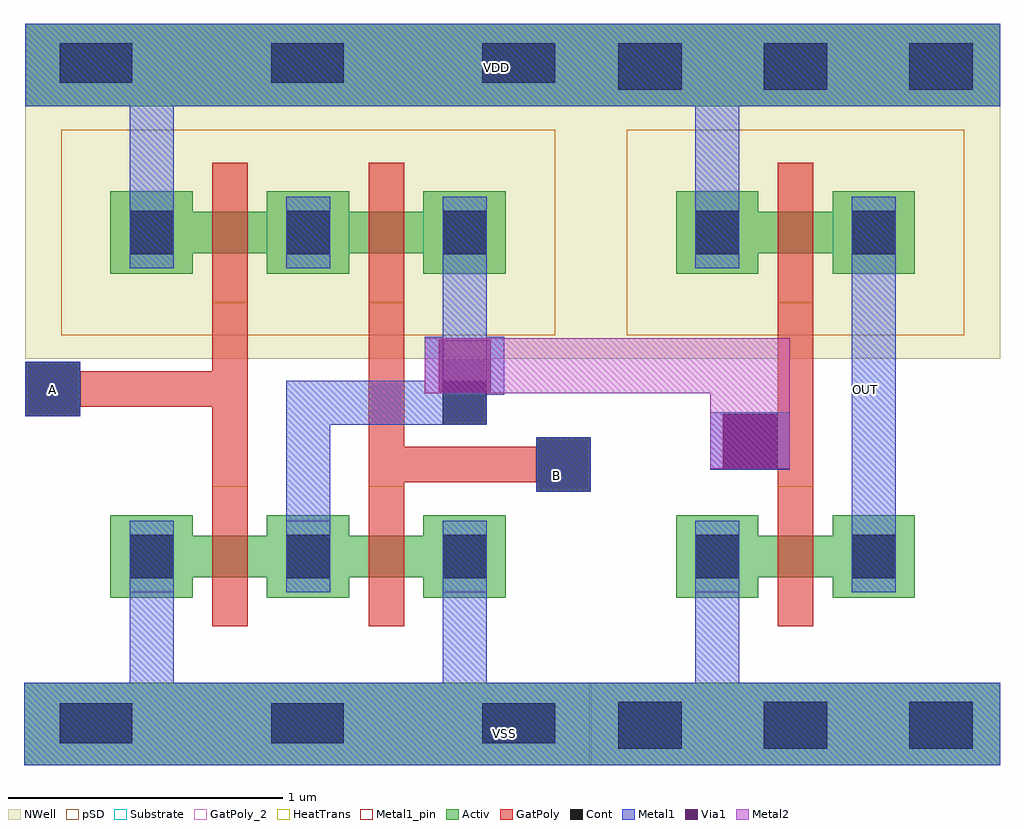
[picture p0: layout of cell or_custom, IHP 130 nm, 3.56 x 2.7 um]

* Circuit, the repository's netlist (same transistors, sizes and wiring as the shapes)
* Extracted by KLayout with SG13G2 LVS runset on : 16/01/2026 23:55

.SUBCKT or_custom VSS OUT A B VDD
X$1 VDD \$3 VSS OUT inv
X$3 \$3 A VDD VSS B nor_custom
.ENDS or_custom

.SUBCKT nor_custom OUT A VDD VSS B
M$1 VSS A OUT VSS sg13_lv_nmos L=0.13u W=0.15u AS=0.1005p AD=0.0555p PS=1.34u
+ PD=0.74u
M$2 OUT B VSS VSS sg13_lv_nmos L=0.13u W=0.15u AS=0.0555p AD=0.1005p PS=0.74u
+ PD=1.34u
M$3 VDD A \$10 VDD sg13_lv_pmos L=0.13u W=0.15u AS=0.1005p AD=0.0555p PS=1.34u
+ PD=0.74u
M$4 \$10 B OUT VDD sg13_lv_pmos L=0.13u W=0.15u AS=0.0555p AD=0.1005p PS=0.74u
+ PD=1.34u
.ENDS nor_custom

.SUBCKT inv VDD VIN VSS VOUT
M$1 VSS VIN VOUT VSS sg13_lv_nmos L=0.13u W=0.15u AS=0.1005p AD=0.1005p
+ PS=1.34u PD=1.34u
M$2 VDD VIN VOUT VDD sg13_lv_pmos L=0.13u W=0.15u AS=0.1005p AD=0.1005p
+ PS=1.34u PD=1.34u
.ENDS inv

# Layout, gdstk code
from math import pi, radians
import gdstk
lib = gdstk.Library(unit=1e-6, precision=5e-09)
def R(c, l, rs):  # rectangles x0, y0, x1, y1
    for r in rs: c.add(gdstk.rectangle(r[:2], r[2:], *l))
def A(c, l, x, y, w, h, nx, ny, dx, dy):  # array of equal rectangles
    R(c, l, [(x+i*dx, y+j*dy, x+i*dx+w, y+j*dy+h) for i in range(nx) for j in range(ny)])
Activ = (1, 0)
GatPoly = (5, 0)
GatPoly_2 = (5, 2)
Cont = (6, 0)
Metal1 = (8, 0)
Metal1_pin = (8, 2)
Metal2 = (10, 0)
pSD = (14, 0)
Via1 = (19, 0)
NWell = (31, 0)
Substrate = (40, 0)
HeatTrans = (51, 0)

pmos_1 = lib.new_cell('pmos$1')
R(pmos_1, Activ, [(0,0,0.3,0.3), (0.57,0,0.87,0.3), (0,0.075,0.87,0.225)])
R(pmos_1, GatPoly, [(0.37,-0.105,0.5,0.405), (0.37,-0.105,0.5,0.405)])
R(pmos_1, Cont, [(0.07,0.07,0.23,0.23), (0.64,0.07,0.8,0.23)])
R(pmos_1, Metal1, [(0.07,0.02,0.23,0.28), (0.07,0.02,0.23,0.28), (0.64,0.02,0.8,0.28), (0.64,0.02,0.8,0.28)])
R(pmos_1, pSD, [(-0.18,-0.225,1.05,0.525)])
R(pmos_1, NWell, [(-0.31,-0.31,1.18,0.61)])
R(pmos_1, Substrate, [(0.57,0,0.87,0.3)])
R(pmos_1, HeatTrans, [(0.37,-0.105,0.5,0.405)])
pmos_1.add(gdstk.Label('pmos', (0.435,0.15), layer=63, texttype=0))
pmos_1.add(gdstk.Label('pmos', (0.435,0.15), layer=51, texttype=0))

nmos_1 = lib.new_cell('nmos$1')
R(nmos_1, Activ, [(0,0,0.3,0.3), (0.57,0,0.87,0.3), (0,0.075,0.87,0.225)])
R(nmos_1, GatPoly, [(0.37,-0.105,0.5,0.405)])
R(nmos_1, GatPoly_2, [(0.37,-0.105,0.5,0.405)])
R(nmos_1, Cont, [(0.07,0.07,0.23,0.23), (0.64,0.07,0.8,0.23)])
R(nmos_1, Metal1, [(0.07,0.02,0.23,0.28), (0.64,0.02,0.8,0.28)])
R(nmos_1, Metal1_pin, [(0.07,0.02,0.23,0.28), (0.64,0.02,0.8,0.28)])
R(nmos_1, HeatTrans, [(0.37,-0.105,0.5,0.405)])
nmos_1.add(gdstk.Label('nmos', (0.435,0.15), layer=63, texttype=0))
nmos_1.add(gdstk.Label('nmos', (0.435,0.15), layer=51, texttype=0))

inv = lib.new_cell('inv')
R(inv, Activ, [(0.24,0.255,1.73,0.555), (0.24,2.655,1.73,2.955)])
R(inv, GatPoly, [(0.92,0.76,1.05,2.45), (0.72,1.335,0.92,1.535)])
A(inv, Cont, 0.34, 0.315, 0.23, 0.17, 3, 2, 0.53, 2.4)
R(inv, Cont, [(0.72,1.335,0.92,1.535)])
R(inv, Metal1, [(0.24,0.255,1.73,0.555), (0.62,0.255,0.78,1.145), (1.19,0.885,1.35,2.325), (0.72,1.335,0.92,1.535), (0.62,2.065,0.78,2.955), (0.24,2.655,1.73,2.955)])
R(inv, Metal1_pin, [(0.24,0.255,1.73,0.555), (1.19,0.885,1.35,2.325), (0.72,1.335,0.92,1.535), (0.24,2.655,1.73,2.955)])
R(inv, pSD, [(0.24,0.255,1.73,0.555)])
R(inv, NWell, [(0.24,2.655,1.73,2.955)])
inv.add(gdstk.Reference(pmos_1, (0.55,2.045)))
inv.add(gdstk.Reference(nmos_1, (0.55,0.865)))
inv.add(gdstk.Label('VIN', (0.78,1.435), layer=8, texttype=25))
inv.add(gdstk.Label('VSS', (0.95,0.37), layer=8, texttype=25))
inv.add(gdstk.Label('VOUT', (1.2,1.665), layer=8, texttype=25))
inv.add(gdstk.Label('VDD', (0.96,2.805), layer=8, texttype=25))

via_stack = lib.new_cell('via_stack')
R(via_stack, Metal1, [(-0.145,-0.105,0.145,0.105)])
R(via_stack, Metal2, [(-0.145,-0.1,0.145,0.1)])
R(via_stack, Via1, [(-0.095,-0.095,0.095,0.095)])

pmos = lib.new_cell('pmos')
R(pmos, Activ, [(0,0,0.3,0.3), (0.57,0,0.87,0.3), (0,0.075,0.87,0.225)])
R(pmos, GatPoly, [(0.37,-0.105,0.5,0.405), (0.37,-0.105,0.5,0.405)])
R(pmos, Cont, [(0.07,0.07,0.23,0.23), (0.64,0.07,0.8,0.23)])
R(pmos, Metal1, [(0.07,0.02,0.23,0.28), (0.07,0.02,0.23,0.28), (0.64,0.02,0.8,0.28), (0.64,0.02,0.8,0.28)])
R(pmos, pSD, [(-0.18,-0.225,1.05,0.525)])
R(pmos, NWell, [(-0.31,-0.31,1.18,0.61)])
R(pmos, Substrate, [(0.57,0,0.87,0.3)])
R(pmos, HeatTrans, [(0.37,-0.105,0.5,0.405)])
pmos.add(gdstk.Label('pmos', (0.435,0.15), layer=63, texttype=0))
pmos.add(gdstk.Label('pmos', (0.435,0.15), layer=51, texttype=0))

nmos = lib.new_cell('nmos')
R(nmos, Activ, [(0,0,0.3,0.3), (0.57,0,0.87,0.3), (0,0.075,0.87,0.225)])
R(nmos, GatPoly, [(0.37,-0.105,0.5,0.405)])
R(nmos, GatPoly_2, [(0.37,-0.105,0.5,0.405)])
R(nmos, Cont, [(0.07,0.07,0.23,0.23), (0.64,0.07,0.8,0.23)])
R(nmos, Metal1, [(0.07,0.02,0.23,0.28), (0.64,0.02,0.8,0.28)])
R(nmos, Metal1_pin, [(0.07,0.02,0.23,0.28), (0.64,0.02,0.8,0.28)])
R(nmos, HeatTrans, [(0.37,-0.105,0.5,0.405)])
nmos.add(gdstk.Label('nmos', (0.435,0.15), layer=63, texttype=0))
nmos.add(gdstk.Label('nmos', (0.435,0.15), layer=51, texttype=0))

nor_custom = lib.new_cell('nor_custom')
R(nor_custom, Activ, [(0.165,0.28,2.225,0.58), (0.17,2.68,2.23,2.98)])
R(nor_custom, GatPoly, [(0.85,0.785,0.98,2.475), (1.42,0.785,1.55,2.475), (1.42,1.31,2.03,1.44), (0.37,1.585,0.98,1.715)])
A(nor_custom, Cont, 0.295, 0.36, 0.265, 0.145, 3, 2, 0.77, 2.405)
R(nor_custom, Cont, [(2.03,1.275,2.23,1.475), (1.69,1.52,1.85,1.68), (0.17,1.55,0.37,1.75)])
R(nor_custom, Metal1, [(0.165,0.28,2.225,0.58), (0.55,0.28,0.71,1.17), (1.69,0.28,1.85,1.17), (1.12,0.91,1.28,1.68), (2.03,1.275,2.23,1.475), (1.12,1.52,1.85,1.68), (1.69,1.52,1.85,2.35), (0.17,1.55,0.37,1.75), (0.55,2.09,0.71,2.98), (0.17,2.68,2.23,2.98)])
R(nor_custom, Metal1_pin, [(0.165,0.28,2.225,0.58), (2.03,1.275,2.23,1.475), (1.69,1.52,1.85,2.35), (0.17,1.55,0.37,1.75), (0.17,2.68,2.23,2.98)])
R(nor_custom, pSD, [(0.165,0.28,2.225,0.58)])
R(nor_custom, NWell, [(0.17,2.68,2.23,2.98)])
nor_custom.add(gdstk.Reference(pmos, (0.48,2.07)))
nor_custom.add(gdstk.Reference(pmos, (1.05,2.07)))
nor_custom.add(gdstk.Reference(nmos, (1.92,1.19), rotation=pi))
nor_custom.add(gdstk.Reference(nmos, (0.48,0.89)))
nor_custom.add(gdstk.Label('VSS', (1.155,0.405), layer=8, texttype=25))
nor_custom.add(gdstk.Label('A', (0.23,1.6), layer=8, texttype=25))
nor_custom.add(gdstk.Label('B', (2.085,1.35), layer=8, texttype=25))
nor_custom.add(gdstk.Label('OUT', (1.735,1.555), layer=8, texttype=25))
nor_custom.add(gdstk.Label('VDD', (1.13,2.815), layer=8, texttype=25))

or_custom = lib.new_cell('or_custom')
R(or_custom, Activ, [(0.165,0.28,3.72,0.58)])
R(or_custom, Metal1, [(0.165,0.28,3.72,0.58), (0.165,0.28,3.72,0.58)])
R(or_custom, Metal1_pin, [(0.165,0.28,3.72,0.58)])
R(or_custom, Metal2, [(2.665,1.36,2.955,1.835), (1.625,1.635,2.955,1.835)])
or_custom.add(gdstk.Reference(inv, (1.99,0.025)))
or_custom.add(gdstk.Reference(via_stack, (2.81,1.46)))
or_custom.add(gdstk.Reference(via_stack, (1.77,1.735)))
or_custom.add(gdstk.Reference(nor_custom, (0,0)))
or_custom.add(gdstk.Label('OUT', (3.23,1.65), layer=8, texttype=25))
or_custom.add(gdstk.Label('A', (0.27,1.65), layer=8, texttype=25))
or_custom.add(gdstk.Label('B', (2.105,1.335), layer=8, texttype=25))
or_custom.add(gdstk.Label('VSS', (1.915,0.395), layer=8, texttype=25))
or_custom.add(gdstk.Label('VDD', (1.885,2.82), layer=8, texttype=25))

lib.write_gds('or_custom.gds')
